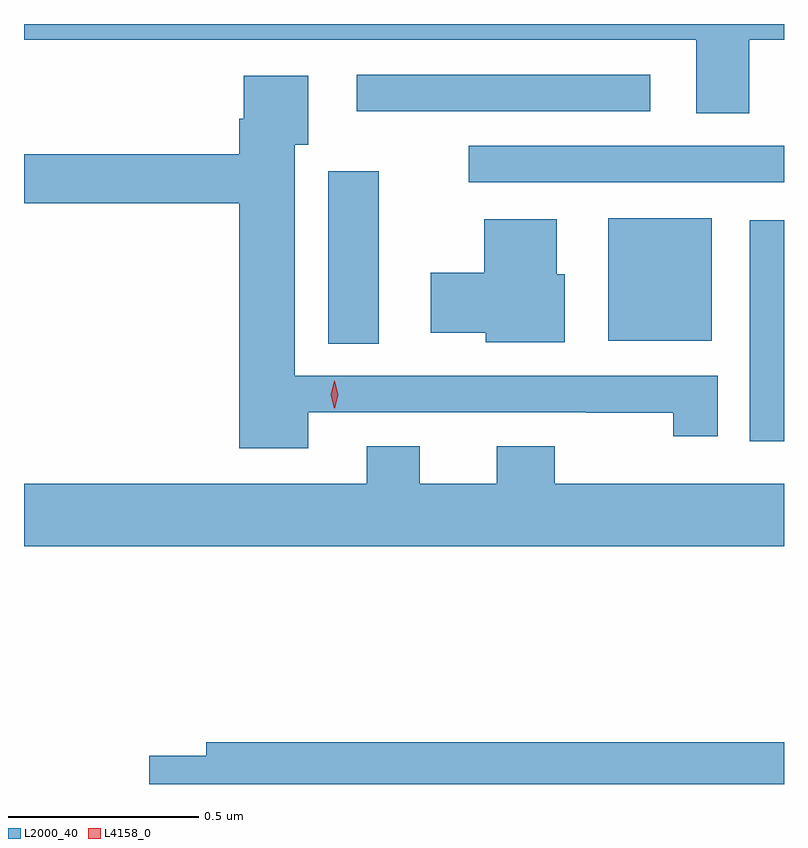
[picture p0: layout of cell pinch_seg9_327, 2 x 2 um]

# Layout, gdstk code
import gdstk
lib = gdstk.Library(unit=1e-6, precision=1e-09)
def R(c, l, rs):  # rectangles x0, y0, x1, y1
    for r in rs: c.add(gdstk.rectangle(r[:2], r[2:], *l))
def P(c, l, *ps):  # polygons
    for p in ps: c.add(gdstk.Polygon(p, *l))
L2000_40 = (2000, 40)
L4158_0 = (4158, 0)

pinch_seg9_327 = lib.new_cell('pinch_seg9_327')
R(pinch_seg9_327, L2000_40, [(567.404,1188.704,567.494,1189.285), (566.294,1188.961,566.428,1189.414), (567.032,1188.968,567.304,1189.291), (566.664,1189.386,567.494,1189.482), (566.37,1189.572,567.142,1189.668)])
P(pinch_seg9_327, L2000_40, [(567.403,1189.76),(567.494,1189.76),(567.494,1189.802),(565.494,1189.802),(565.494,1189.76),(567.263,1189.76),(567.263,1189.567),(567.403,1189.567)],
  [(566.242,1188.78),(566.974,1188.78),(566.974,1188.779),(567.202,1188.779),(567.202,1188.717),(567.319,1188.717),(567.319,1188.876),(566.206,1188.876),(566.206,1189.484),(566.242,1189.484),(566.242,1189.666),(566.072,1189.666),(566.072,1189.553),(566.06,1189.553),(566.06,1189.459),(565.494,1189.459),(565.494,1189.33),(566.06,1189.33),(566.06,1188.686),(566.242,1188.686)],
  [(566.917,1189.143),(566.896,1189.143),(566.896,1189.288),(566.705,1189.288),(566.705,1189.147),(566.565,1189.147),(566.565,1188.989),(566.709,1188.989),(566.709,1188.965),(566.917,1188.965)],
  [(567.494,1188.592),(566.891,1188.592),(566.891,1188.691),(566.738,1188.691),(566.738,1188.592),(566.536,1188.592),(566.536,1188.691),(566.396,1188.691),(566.396,1188.592),(565.494,1188.592),(565.494,1188.428),(567.494,1188.428)],
  [(567.494,1187.912),(565.973,1187.912),(565.973,1187.876),(565.824,1187.876),(565.824,1187.802),(567.494,1187.802)])
P(pinch_seg9_327, L4158_0, [(566.311,1188.791),(566.311,1188.791),(566.301,1188.827),(566.311,1188.863),(566.311,1188.863),(566.312,1188.863),(566.321,1188.827),(566.312,1188.791)])

lib.write_gds('pinch_seg9_327.gds')
